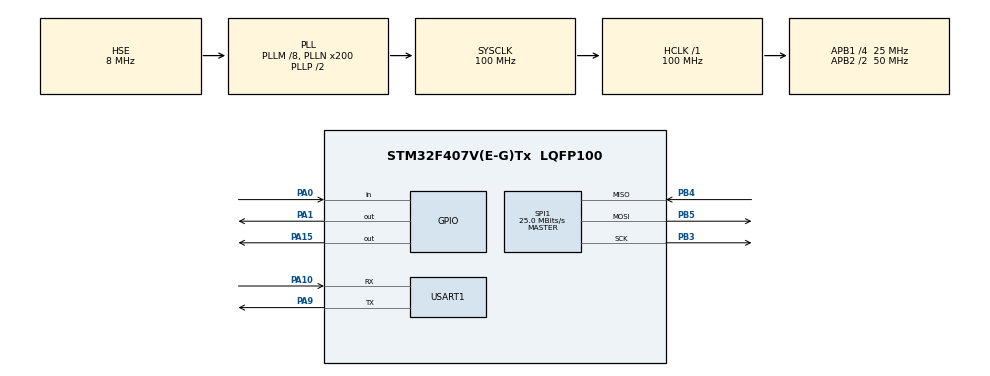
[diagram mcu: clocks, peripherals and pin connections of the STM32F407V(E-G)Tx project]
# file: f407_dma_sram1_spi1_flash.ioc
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Dma.Request0=SPI1_TX
Dma.Request1=SPI1_RX
Dma.SPI1_RX.1.Direction=DMA_PERIPH_TO_MEMORY
Dma.SPI1_RX.1.FIFOMode=DMA_FIFOMODE_DISABLE
Dma.SPI1_RX.1.Instance=DMA2_Stream0
Dma.SPI1_RX.1.MemDataAlignment=DMA_MDATAALIGN_BYTE
Dma.SPI1_RX.1.MemInc=DMA_MINC_ENABLE
Dma.SPI1_RX.1.Mode=DMA_NORMAL
Dma.SPI1_RX.1.PeriphDataAlignment=DMA_PDATAALIGN_BYTE
Dma.SPI1_RX.1.PeriphInc=DMA_PINC_DISABLE
Dma.SPI1_RX.1.Priority=DMA_PRIORITY_LOW
Dma.SPI1_TX.0.Direction=DMA_MEMORY_TO_PERIPH
Dma.SPI1_TX.0.FIFOMode=DMA_FIFOMODE_DISABLE
Dma.SPI1_TX.0.Instance=DMA2_Stream3
Dma.SPI1_TX.0.MemDataAlignment=DMA_MDATAALIGN_BYTE
Dma.SPI1_TX.0.MemInc=DMA_MINC_ENABLE
Dma.SPI1_TX.0.Mode=DMA_NORMAL
Dma.SPI1_TX.0.PeriphDataAlignment=DMA_PDATAALIGN_BYTE
Dma.SPI1_TX.0.PeriphInc=DMA_PINC_DISABLE
Dma.SPI1_TX.0.Priority=DMA_PRIORITY_LOW
Mcu.Family=STM32F4
Mcu.Name=STM32F407V(E-G)Tx
Mcu.Package=LQFP100
NVIC.DMA2_Stream0_IRQn=true\:0\:0\:false\:false\:true\:false\:true
NVIC.DMA2_Stream3_IRQn=true\:0\:0\:false\:false\:true\:false\:true
NVIC.PriorityGroup=NVIC_PRIORITYGROUP_4
PA0-WKUP.Signal=GPIO_Input
PA1.Signal=GPIO_Output
PA10.Mode=Asynchronous
PA10.Signal=USART1_RX
PA13.Mode=Serial_Wire
PA13.Signal=SYS_JTMS-SWDIO
PA14.Mode=Serial_Wire
PA14.Signal=SYS_JTCK-SWCLK
PA15.Signal=GPIO_Output
PA9.Mode=Asynchronous
PA9.Signal=USART1_TX
PB3.Mode=Full_Duplex_Master
PB3.Signal=SPI1_SCK
PB4.Mode=Full_Duplex_Master
PB4.Signal=SPI1_MISO
PB5.Mode=Full_Duplex_Master
PB5.Signal=SPI1_MOSI
PH0-OSC_IN.Mode=HSE-External-Oscillator
PH0-OSC_IN.Signal=RCC_OSC_IN
PH1-OSC_OUT.Mode=HSE-External-Oscillator
PH1-OSC_OUT.Signal=RCC_OSC_OUT
ProjectManager.HeapSize=0x200
ProjectManager.StackSize=0x400
ProjectManager.TargetToolchain=STM32CubeIDE
RCC.48MHZClocksFreq_Value=50000000
RCC.AHBFreq_Value=100000000
RCC.APB1CLKDivider=RCC_HCLK_DIV4
RCC.APB1Freq_Value=25000000
RCC.APB1TimFreq_Value=50000000
RCC.APB2CLKDivider=RCC_HCLK_DIV2
RCC.APB2Freq_Value=50000000
RCC.APB2TimFreq_Value=100000000
RCC.CortexFreq_Value=100000000
RCC.HCLKFreq_Value=100000000
RCC.HSE_VALUE=8000000
RCC.HSI_VALUE=16000000
RCC.LSE_VALUE=32768
RCC.PLLM=8
RCC.PLLN=200
RCC.PLLSourceVirtual=RCC_PLLSOURCE_HSE
RCC.SYSCLKFreq_VALUE=100000000
RCC.SYSCLKSource=RCC_SYSCLKSOURCE_PLLCLK
RCC.VCOOutputFreq_Value=200000000
SPI1.BaudRatePrescaler=SPI_BAUDRATEPRESCALER_2
SPI1.CalculateBaudRate=25.0 MBits/s
SPI1.Direction=SPI_DIRECTION_2LINES
SPI1.Mode=SPI_MODE_MASTER
SPI1.VirtualType=VM_MASTER
USART1.VirtualMode=VM_ASYNC
board=custom

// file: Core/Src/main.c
/* USER CODE BEGIN Header */
// DevEBox STM32F407VGT6 dev board
// Demo mixed normal SPI and DMA SPI write to / read from on-board
// Winbond 25Q16 serial flash
// Separated out the DMA init and de-init code from the SPI init and deinit
// code. So now you can use normal SPI transactions, then when you want to
// use DMA transfer, use hal_spi_dma_init() + dma transfer + hal_spi_dma_deinit()
// and you can go back to normal SPI operations again.
// This is how the flash write and read with DMA functions work. E.g. for
// write with DMA, use normal spi transactions to check if flash is busy,
// enable write and program the page address. Then DMA transfer for the data
// buffer.

/* USER CODE END Header */

#include "main.h"
#include "w25qxxConf.h"
#include "w25qxx.h"

SPI_HandleTypeDef hspi1;
DMA_HandleTypeDef hdma_spi1_tx;
DMA_HandleTypeDef hdma_spi1_rx;

UART_HandleTypeDef huart1;

void SystemClock_Config(void);
static void MX_GPIO_Init(void);
static void MX_DMA_Init(void);
static void MX_SPI1_Init(void);
static void MX_USART1_UART_Init(void);

/* USER CODE BEGIN 0 */

// uncomment this to erase the sector containing the test write  pages
// and write some test data

#define TEST_WRITE_FLASH

// test data strings to write to flash
uint8_t DataSPIDMA[] = "this data was written using DMA transfer\r\n";
uint8_t DataSPI[] 	= "this data was written using normal SPI\r\n";

uint8_t ReadData[50]	= {0x00};

void printMsg(char* format, ...) {
	char sz[100];
	va_list args;
	va_start(args, format);
	vsprintf(sz, format, args);
	HAL_UART_Transmit(&huart1, (uint8_t *)sz, strlen(sz), HAL_MAX_DELAY);
	va_end(args);
	}

/* USER CODE END 0 */

int main(void)
{

  /* MCU Configuration--------------------------------------------------------*/

  /* Reset of all peripherals, Initializes the Flash interface and the Systick. */
  HAL_Init();

  /* Configure the system clock */
  SystemClock_Config();

  /* Initialize all configured peripherals */
  MX_GPIO_Init();
  MX_DMA_Init();
  MX_SPI1_Init();
  MX_USART1_UART_Init();
  /* USER CODE BEGIN 2 */
  printMsg("\r\nTest mixed normal and DMA SPI writes to/read from  Winbond W25Q16 serial flash\r\n\r\n");

  CHIP_DESELECT();

  // init code reads flash id and hence determines the page/sector/block sizes
  if (false == W25qxx_Init()) {
	  Error_Handler();
  	  }

  // Winbond W25Q16 serial flash : number pages = 8192, page size = 256 bytes

  // write  source buffer DataSPI with normal SPI transaction
  // write address 250 translates to page 0, offset 250
  // Note : we  have to write to both page 0 and page 1 as the
  // number of bytes in DataSPI will cross the page boundary
  uint32_t writeAddressSPI = 250;

  // write source buffer DataSPIDMA  with DMA SPI transfer
  // write address 895 translates to page 3, offset 127
  // Note : write stays within the page boundary
  uint32_t writeAddressDMA = 895;

#ifdef TEST_WRITE_FLASH
  // Erase sector 0 (W25Q16 sector size = 4096 bytes)
  W25qxx_EraseSector(0);

  printMsg("Use normal SPI to write DataSPI : %s", DataSPI);
  W25qxx_WriteBytes(DataSPI, writeAddressSPI, sizeof(DataSPI));

  printMsg("Use DMA to write DataSPIDMA : %s", DataSPIDMA);
  uint32_t pageAddressDMA = writeAddressDMA/256;
  uint32_t pageOffsetDMA = writeAddressDMA%256;
  W25qxx_WritePageDMA(DataSPIDMA, pageAddressDMA, pageOffsetDMA, sizeof(DataSPIDMA));
#endif

  // for reads, can read unlimited number of bytes, no issue with crossing
  // page boundaries

  printMsg("\r\nUse normal SPI  to read back the normal SPI write\r\n");
  W25qxx_ReadBytes(ReadData, writeAddressSPI, sizeof(DataSPI));
  printMsg((char*)ReadData);

  printMsg("\r\nUse DMA to read back the normal SPI write\r\n");
  W25qxx_ReadBytesDMA(ReadData, writeAddressSPI, sizeof(DataSPI));
  //wait for DMA to complete
  while (w25qxx.Lock == 0) {}
  printMsg((char*)ReadData);

  printMsg("\r\nUse normal SPI  to read back the DMA write\r\n");
  W25qxx_ReadBytes(ReadData, writeAddressDMA, sizeof(DataSPIDMA));
  printMsg((char*)ReadData);

  printMsg("\r\nUse DMA to read back the DMA write\r\n");
  W25qxx_ReadBytesDMA(ReadData, writeAddressDMA, sizeof(DataSPIDMA));
  //wait for DMA to complete
  while (w25qxx.Lock == 0) {}
  printMsg((char*)ReadData);

  /* USER CODE END 2 */

  /* Infinite loop */
  while (1)
  {

  }
}

void SystemClock_Config(void)
{
  RCC_OscInitTypeDef RCC_OscInitStruct = {0};
  RCC_ClkInitTypeDef RCC_ClkInitStruct = {0};

  /** Configure the main internal regulator output voltage
  */
  __HAL_RCC_PWR_CLK_ENABLE();
  __HAL_PWR_VOLTAGESCALING_CONFIG(PWR_REGULATOR_VOLTAGE_SCALE1);
  /** Initializes the CPU, AHB and APB busses clocks
  */
  RCC_OscInitStruct.OscillatorType = RCC_OSCILLATORTYPE_HSE;
  RCC_OscInitStruct.HSEState = RCC_HSE_ON;
  RCC_OscInitStruct.PLL.PLLState = RCC_PLL_ON;
  RCC_OscInitStruct.PLL.PLLSource = RCC_PLLSOURCE_HSE;
  RCC_OscInitStruct.PLL.PLLM = 8;
  RCC_OscInitStruct.PLL.PLLN = 200;
  RCC_OscInitStruct.PLL.PLLP = RCC_PLLP_DIV2;
  RCC_OscInitStruct.PLL.PLLQ = 4;
  if (HAL_RCC_OscConfig(&RCC_OscInitStruct) != HAL_OK)
  {
    Error_Handler();
  }
  /** Initializes the CPU, AHB and APB busses clocks
  */
  RCC_ClkInitStruct.ClockType = RCC_CLOCKTYPE_HCLK|RCC_CLOCKTYPE_SYSCLK
                              |RCC_CLOCKTYPE_PCLK1|RCC_CLOCKTYPE_PCLK2;
  RCC_ClkInitStruct.SYSCLKSource = RCC_SYSCLKSOURCE_PLLCLK;
  RCC_ClkInitStruct.AHBCLKDivider = RCC_SYSCLK_DIV1;
  RCC_ClkInitStruct.APB1CLKDivider = RCC_HCLK_DIV4;
  RCC_ClkInitStruct.APB2CLKDivider = RCC_HCLK_DIV2;

  if (HAL_RCC_ClockConfig(&RCC_ClkInitStruct, FLASH_LATENCY_3) != HAL_OK)
  {
    Error_Handler();
  }
}

static void MX_SPI1_Init(void)
{

  /* SPI1 parameter configuration*/
  hspi1.Instance = SPI1;
  hspi1.Init.Mode = SPI_MODE_MASTER;
  hspi1.Init.Direction = SPI_DIRECTION_2LINES;
  hspi1.Init.DataSize = SPI_DATASIZE_8BIT;
  hspi1.Init.CLKPolarity = SPI_POLARITY_LOW;
  hspi1.Init.CLKPhase = SPI_PHASE_1EDGE;
  hspi1.Init.NSS = SPI_NSS_SOFT;
  hspi1.Init.BaudRatePrescaler = SPI_BAUDRATEPRESCALER_2;
  hspi1.Init.FirstBit = SPI_FIRSTBIT_MSB;
  hspi1.Init.TIMode = SPI_TIMODE_DISABLE;
  hspi1.Init.CRCCalculation = SPI_CRCCALCULATION_DISABLE;
  hspi1.Init.CRCPolynomial = 10;
  if (HAL_SPI_Init(&hspi1) != HAL_OK)
  {
    Error_Handler();
  }

}

static void MX_USART1_UART_Init(void)
{

  huart1.Instance = USART1;
  huart1.Init.BaudRate = 115200;
  huart1.Init.WordLength = UART_WORDLENGTH_8B;
  huart1.Init.StopBits = UART_STOPBITS_1;
  huart1.Init.Parity = UART_PARITY_NONE;
  huart1.Init.Mode = UART_MODE_TX_RX;
  huart1.Init.HwFlowCtl = UART_HWCONTROL_NONE;
  huart1.Init.OverSampling = UART_OVERSAMPLING_16;
  if (HAL_UART_Init(&huart1) != HAL_OK)
  {
    Error_Handler();
  }

}

static void MX_DMA_Init(void)
{

  /* DMA controller clock enable */
  __HAL_RCC_DMA2_CLK_ENABLE();

  /* DMA interrupt init */
  /* DMA2_Stream0_IRQn interrupt configuration */
  HAL_NVIC_SetPriority(DMA2_Stream0_IRQn, 0, 0);
  HAL_NVIC_EnableIRQ(DMA2_Stream0_IRQn);
  /* DMA2_Stream3_IRQn interrupt configuration */
  HAL_NVIC_SetPriority(DMA2_Stream3_IRQn, 0, 0);
  HAL_NVIC_EnableIRQ(DMA2_Stream3_IRQn);

}

static void MX_GPIO_Init(void)
{
  GPIO_InitTypeDef GPIO_InitStruct = {0};

  /* GPIO Ports Clock Enable */
  __HAL_RCC_GPIOH_CLK_ENABLE();
  __HAL_RCC_GPIOA_CLK_ENABLE();
  __HAL_RCC_GPIOB_CLK_ENABLE();

  /*Configure GPIO pin Output Level */
  HAL_GPIO_WritePin(GPIOA, GPIO_PIN_1|GPIO_PIN_15, GPIO_PIN_RESET);

  /*Configure GPIO pin : PA0 */
  GPIO_InitStruct.Pin = GPIO_PIN_0;
  GPIO_InitStruct.Mode = GPIO_MODE_INPUT;
  GPIO_InitStruct.Pull = GPIO_NOPULL;
  HAL_GPIO_Init(GPIOA, &GPIO_InitStruct);

  /*Configure GPIO pins : PA1 PA15 */
  GPIO_InitStruct.Pin = GPIO_PIN_1|GPIO_PIN_15;
  GPIO_InitStruct.Mode = GPIO_MODE_OUTPUT_PP;
  GPIO_InitStruct.Pull = GPIO_NOPULL;
  GPIO_InitStruct.Speed = GPIO_SPEED_FREQ_LOW;
  HAL_GPIO_Init(GPIOA, &GPIO_InitStruct);

}

void Error_Handler(void)
{
  /* USER CODE BEGIN Error_Handler_Debug */
  /* User can add his own implementation to report the HAL error return state */
	int counter = 0;
	while (1) {
		HAL_GPIO_TogglePin(GPIOA, GPIO_PIN_1);
		while (counter < 0x3FFFF) {counter++;}
		counter = 0;
		}
  /* USER CODE END Error_Handler_Debug */
}

/************************ (C) COPYRIGHT STMicroelectronics *****END OF FILE****/
